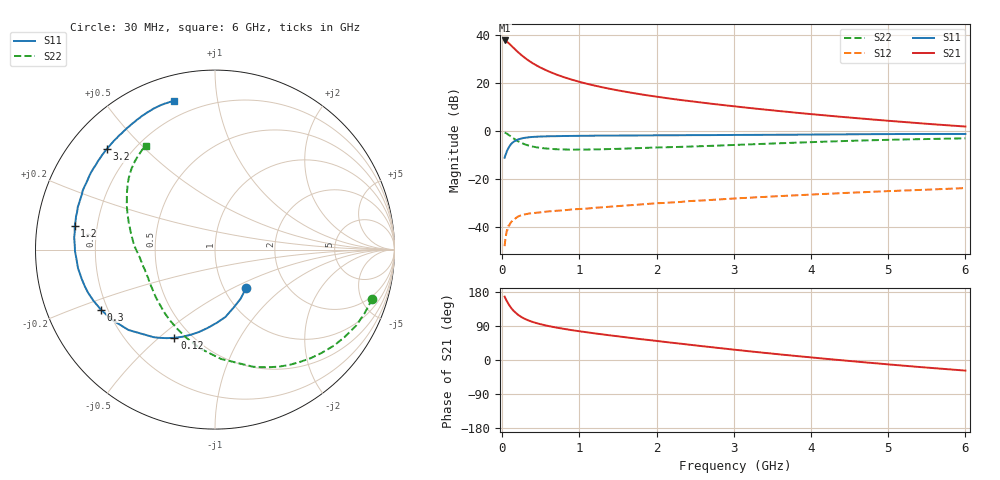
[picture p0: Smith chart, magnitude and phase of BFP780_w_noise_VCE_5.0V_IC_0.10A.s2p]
! Infineon Technologies  Discrete & RF Semiconductors
! BFP780
! VCE =  5.0 V,  IC = 0.10 A
! Common Emitter S-Parameters:  Jul 2015
# GHz  S  MA  R  50
!  f  S11  S21  S12  S22
! GHz  MAG  ANG  MAG  ANG  MAG  ANG  MAG  ANG
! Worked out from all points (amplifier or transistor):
!   75 points, 30 MHz to 6 GHz, reference 50 ohm
!   highest |S21| = 37.8 dB at 30 MHz (marker M1)
!   |S21| within 3 dB of that: start of sweep to 142.5 MHz
!   unconditionally stable (mu >= 1): 1.639 GHz to end of sweep
!   at 150 MHz: K = 0.20, MSG = 35.8 dB, |S12| = -37.1 dB
!   at 2.3 GHz: K = 1.14, MAG = 19.0 dB, |S12| = -29.7 dB
!   at 6 GHz: K = 1.18, MAG = 10.2 dB, |S12| = -23.9 dB
!   lowest NFmin = 2.08 dB at 450 MHz
!   S11 on the Smith chart (normalised r, x): 30 MHz: 1.27, -0.58; 120 MHz: 0.41, -0.56; 300 MHz: 0.17, -0.24; 1.2 GHz: 0.12, +0.08; 3.2 GHz: 0.11, +0.39; 6 GHz: 0.12, +0.76
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0.03  0.2744 -50.5  77.18 167.3  0.0039 72.0  0.9184 -17.3
0.05  0.3391 -72.1  74.23 158.8  0.0068 73.1  0.893 -28.4
0.07  0.4071 -88.4  70.43 151.4  0.0086 60.2  0.8517 -38.9
0.09  0.4671 -100.9  66.03 144.6  0.0105 54.5  0.8069 -48.5
0.12  0.5408 -114.7  59.37 136.0  0.0128 49.0  0.7438 -61.2
0.15  0.5958 -125.0  53.22 129.1  0.014 45.8  0.6868 -71.9
0.2  0.658 -137.1  44.56 120.0  0.0161 38.5  0.6102 -86.8
0.25  0.6948 -145.8  37.95 113.1  0.0174 34.7  0.5572 -98.5
0.3  0.7185 -152.3  32.73 107.8  0.0181 32.3  0.516 -108.2
0.4  0.7471 -161.3  25.47 100.0  0.0192 29.6  0.4668 -122.7
0.5  0.7601 -167.5  20.74 94.2  0.0199 27.7  0.4383 -133.2
0.6  0.7702 -172.2  17.44 89.6  0.0208 27.0  0.4231 -141.3
0.8  0.78 -179.3  13.17 82.1  0.0219 27.8  0.4086 -152.7
1.1  0.7876 172.8  9.578 73.0  0.0238 28.9  0.4065 -164.0
1.2  0.7926 170.6  8.786 70.2  0.0247 29.5  0.4106 -166.6
1.6  0.8005 162.8  6.545 59.9  0.0276 31.0  0.4263 -175.6
2.1  0.8076 154.3  4.896 47.9  0.0312 31.7  0.4521 176.4
3.1  0.8217 138.6  3.129 25.2  0.0394 30.8  0.5134 160.4
3.2  0.823 137.2  3.007 23.0  0.04 30.4  0.5205 158.9
4.1  0.8372 124.7  2.161 4.9  0.0476 26.9  0.5878 146.5
5.1  0.857 113.5  1.576 -13.3  0.0558 21.8  0.6538 134.4
6  0.8599 105.3  1.229 -28.0  0.0638 16.1  0.6971 123.7
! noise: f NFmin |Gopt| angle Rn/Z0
0.45  2.08  0.55  -177  0.08
0.9  2.13  0.57  -165  0.09
1.5  2.18  0.58  -158  0.11
1.8  2.37  0.58  -154  0.13
2.4  2.5  0.61  -143  0.2
3  2.79  0.65  -132  0.28
3.5  3.26  0.67  -121  0.43
